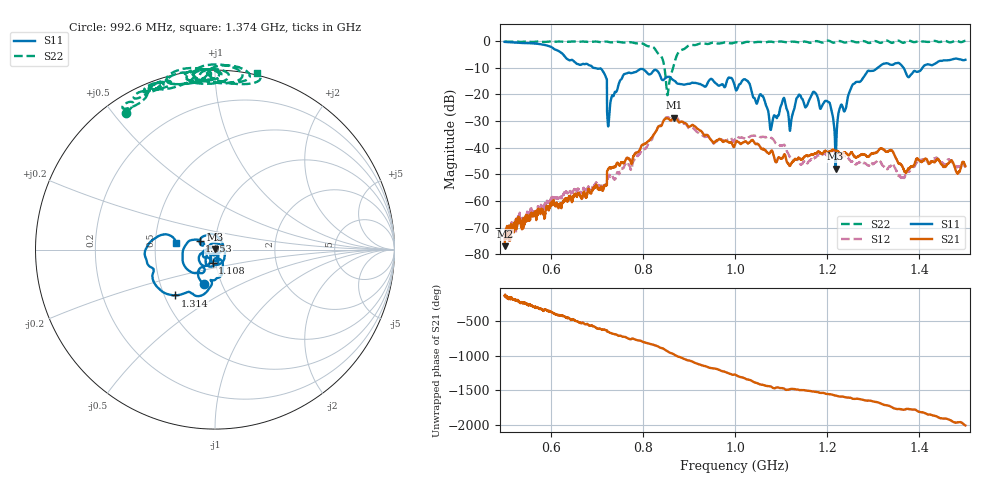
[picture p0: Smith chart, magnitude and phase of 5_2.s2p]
!Agilent Technologies,E8364B,US42250235,A.06.04.32
!Agilent E8364B: A.06.04.32
!Date: Thursday, October 01, 2020 15:59:15
!Correction: S11(Full 2 Port(1,2)) S21(Full 2 Port(1,2)) S12(Full 2 Port(1,2)) S22(Full 2 Port(1,2))
!S2P File: Measurements: S11, S21, S12, S22:
# Hz S  dB  R 50
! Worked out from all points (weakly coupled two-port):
!   2650 points, 500 MHz to 1.5 GHz, reference 50 ohm
!   highest |S21| = -28.72 dB at 867.3 MHz (marker M1); lowest = -77.0 dB at 500.4 MHz (marker M2)
!   lowest |S11| = -47.9 dB at 1.218 GHz (marker M3), VSWR 1.01, Z = 50.1 + j0.378 ohm
!   |S11| at or under -10 dB: 692.8 MHz to 1.31 GHz (616.8 MHz wide, 61.6 % of centre); 1.366 GHz to 1.407 GHz (41.04 MHz wide, 2.96 % of centre)
!   |S22| runs from -20.3 to 0.3 dB; largest |S21 - S12| = 0.018
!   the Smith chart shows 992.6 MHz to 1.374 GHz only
!   S11 on the Smith chart (normalised r, x): 992.6 MHz: 0.83, -0.33; 1.053 GHz: 0.84, +0.08; 1.108 GHz: 0.96, -0.14; 1.314 GHz: 0.57, -0.33; 1.374 GHz: 0.64, +0.05
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5e8  -0.27 -175.5  -76.23 -132.0  -71.99 -118.0  -0.08 142.4
5.003775e8  -0.27 -175.7  -76.99 -137.3  -74.71 -126.7  -0.08 142.5
5.958852e8  -1.79 119.9  -63.58 11.0  -61.11 39.9  -0.11 128.3
6.668554e8  -8.73 87.7  -58.51 -168.2  -56.89 -128.6  -0.15 123.7
7.144205e8  -11.58 41.9  -55.58 101.2  -54.79 114.7  -0.27 112.0
7.272556e8  -27.36 109.7  -47.42 57.1  -50.26 87.0  -0.35 115.8
7.608532e8  -12.30 99.1  -45.24 -7.5  -46.49 16.4  -0.54 105.4
8.337108e8  -11.61 -16.9  -32.08 -149.5  -32.01 -136.7  -4.75 55.5
8.540959e8  -13.41 -44.0  -29.01 140.2  -28.52 148.9  -19.88 -60.6
8.673084e8  -14.79 -81.2  -28.72 99.4  -28.38 104.2  -8.92 -165.4
9.926387e8  -13.86 -106.9  -38.17 169.3  -36.65 -147.4  -0.84 123.1
1.000189e9  -17.43 -129.0  -38.84 166.8  -36.65 -147.4  -0.47 119.5
1.053416e9  -20.19 151.4  -39.30 28.0  -35.86 102.1  -0.26 113.8
1.078709e9  -32.68 -60.3  -41.17 -8.8  -36.34 46.2  -0.18 111.6
1.108154e9  -22.45 -100.4  -42.63 -43.7  -39.17 -15.6  -0.34 113.3
1.166667e9  -20.03 -117.3  -42.51 -74.1  -44.35 -60.8  -0.52 99.6
1.218384e9  -47.92 69.9  -41.23 -136.5  -42.35 -151.9  -0.35 92.0
1.254624e9  -16.51 -76.8  -42.04 179.8  -45.17 152.2  -0.01 95.3
1.313892e9  -9.42 -131.0  -40.52 117.2  -44.89 75.5  -0.59 91.4
1.333522e9  -8.51 -157.9  -41.29 76.8  -47.32 59.4  -0.03 96.9
1.374292e9  -13.21 169.7  -48.36 31.4  -48.99 30.6  0.12 76.6
1.5e9  -6.99 137.2  -46.90 151.7  -47.52 148.2  0.19 71.3
